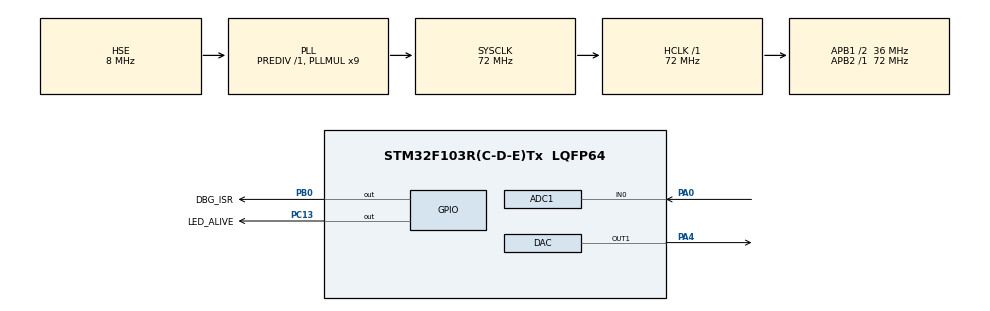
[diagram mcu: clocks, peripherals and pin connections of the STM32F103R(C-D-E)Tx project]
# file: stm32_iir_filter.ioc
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ADC1.Channel-0\#ChannelRegularConversion=ADC_CHANNEL_0
ADC1.EnableAnalogWatchDog=false
ADC1.ExternalTrigConv=ADC_EXTERNALTRIGCONV_T3_TRGO
ADC1.NbrOfConversionFlag=1
ADC1.Rank-0\#ChannelRegularConversion=1
ADC1.SamplingTime-0\#ChannelRegularConversion=ADC_SAMPLETIME_55CYCLES_5
ADC1.master=1
Dma.ADC1.0.Direction=DMA_PERIPH_TO_MEMORY
Dma.ADC1.0.Instance=DMA1_Channel1
Dma.ADC1.0.MemDataAlignment=DMA_MDATAALIGN_HALFWORD
Dma.ADC1.0.MemInc=DMA_MINC_DISABLE
Dma.ADC1.0.Mode=DMA_CIRCULAR
Dma.ADC1.0.PeriphDataAlignment=DMA_PDATAALIGN_HALFWORD
Dma.ADC1.0.PeriphInc=DMA_PINC_DISABLE
Dma.ADC1.0.Priority=DMA_PRIORITY_MEDIUM
Dma.Request0=ADC1
Mcu.Family=STM32F1
Mcu.Name=STM32F103R(C-D-E)Tx
Mcu.Package=LQFP64
NVIC.DMA1_Channel1_IRQn=true\:1\:0\:true\:false\:true\:false\:true\:true
NVIC.PriorityGroup=NVIC_PRIORITYGROUP_4
PA0-WKUP.Signal=ADCx_IN0
PA13.Mode=Serial_Wire
PA13.Signal=SYS_JTMS-SWDIO
PA14.Mode=Serial_Wire
PA14.Signal=SYS_JTCK-SWCLK
PA4.Signal=COMP_DAC1_group
PB0.GPIO_Label=DBG_ISR
PB0.GPIO_Speed=GPIO_SPEED_FREQ_HIGH
PB0.Signal=GPIO_Output
PC13-TAMPER-RTC.GPIO_Label=LED_ALIVE
PC13-TAMPER-RTC.Signal=GPIO_Output
PD0-OSC_IN.Mode=HSE-External-Oscillator
PD0-OSC_IN.Signal=RCC_OSC_IN
PD1-OSC_OUT.Mode=HSE-External-Oscillator
PD1-OSC_OUT.Signal=RCC_OSC_OUT
ProjectManager.HeapSize=0x200
ProjectManager.StackSize=0x400
ProjectManager.TargetToolchain=CMake
RCC.ADCPresc=RCC_ADCPCLK2_DIV6
RCC.AHBFreq_Value=72000000
RCC.APB1CLKDivider=RCC_HCLK_DIV2
RCC.APB1Freq_Value=36000000
RCC.APB1TimFreq_Value=72000000
RCC.APB2Freq_Value=72000000
RCC.APB2TimFreq_Value=72000000
RCC.HCLKFreq_Value=72000000
RCC.PLLMUL=RCC_PLL_MUL9
RCC.PLLSourceVirtual=RCC_PLLSOURCE_HSE
RCC.SYSCLKFreq_VALUE=72000000
RCC.SYSCLKSource=RCC_SYSCLKSOURCE_PLLCLK
RCC.USBFreq_Value=72000000
SH.ADCx_IN0.0=ADC1_IN0,IN0
SH.COMP_DAC1_group.0=DAC_OUT1,DAC_OUT1
TIM3.Period=1439
TIM3.TIM_MasterOutputTrigger=TIM_TRGO_UPDATE
VP_TIM3_VS_ClockSourceINT.Mode=Internal
board=custom

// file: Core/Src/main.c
/* USER CODE BEGIN Header */
/**
 ******************************************************************************
 * @file           : main.c
 * @brief          : Main program body
 ******************************************************************************
 * @attention
 *
 * Copyright (c) 2026 STMicroelectronics.
 * All rights reserved.
 *
 * This software is licensed under terms that can be found in the LICENSE file
 * in the root directory of this software component.
 * If no LICENSE file comes with this software, it is provided AS-IS.
 *
 ******************************************************************************
 */
/* USER CODE END Header */
#include "main.h"
#include "adc.h"
#include "dac.h"
#include "dma.h"
#include "gpio.h"
#include "tim.h"

/* USER CODE BEGIN Includes */
#include "filter.h"
/* USER CODE END Includes */

/* USER CODE BEGIN PD */
/* ---- 系统级常数：全部工作在12bit ADC/DAC码值域（满量程3.3V，每码约0.806mV）---- */
#define IN_BIAS_CODE 993.0f  /* 输入直流偏置 0.8V -> 993码 */
#define FILTER_DC_GAIN 2.0f  /* 低通滤波器直流增益 */
#define OUT_BIAS_CODE 1986U  /* 上电预置输出 1.6V -> 1986码 = IN_BIAS_CODE x FILTER_DC_GAIN */
#define ADC_CODE_MAX 4095.0f /* 12bit码值上限，用于滤波输出限幅 */
/* USER CODE END PD */

/* USER CODE BEGIN PV */
/* DMA 单样本缓冲：每个采样点由 DMA1_CH1 循环写入、在中断中读取，
   必须 volatile，防止编译器在主循环/中断之间把它优化进寄存器；
   static 将可见性限制在本文件（仅 main() 与滤波回调访问） */
static volatile uint16_t adc_raw;

/* 二阶低通，Fs=50kHz 锁定系数（a1 自带负号，禁止再变号） */
static biquad_t lpf = {.b0 = 0.0152672f,
                       .b1 = 0.0305344f,
                       .b2 = 0.0152672f,
                       .a1 = -1.5114504f,
                       .a2 = 0.5419847f,
                       .s1 = 0.0f,
                       .s2 = 0.0f};

/* 输出增益微调：1.0=不修正；若要补偿输出重建RC在2kHz的~0.78%衰减可略调大 */
#define GAIN_TRIM 1.0f
/* USER CODE END PV */

void SystemClock_Config(void);

int main(void) {

  /* MCU Configuration--------------------------------------------------------*/

  /* Reset of all peripherals, Initializes the Flash interface and the Systick.
   */
  HAL_Init();

  /* Configure the system clock */
  SystemClock_Config();

  /* Initialize all configured peripherals */
  MX_GPIO_Init();
  MX_DMA_Init();
  MX_ADC1_Init();
  MX_DAC_Init();
  MX_TIM3_Init();
  /* USER CODE BEGIN 2 */
  /* 1) 启动 DAC 通道1，先把输出预置到 1.6V(OUT_BIAS_CODE)，避免上电瞬间从0跳变 */
  HAL_DAC_Start(&hdac, DAC_CHANNEL_1);
  HAL_DAC_SetValue(&hdac, DAC_CHANNEL_1, DAC_ALIGN_12B_R, OUT_BIAS_CODE);

  /* 2) 滤波器直接置为 0.8V输入->1.6V输出的直流稳态，消除建立瞬态 */
  biquad_preset_dc(&lpf, IN_BIAS_CODE, FILTER_DC_GAIN);

  /* 3) 启动 ADC+DMA：DMA 循环搬运单个半字到 adc_raw，每次转换完成触发TC中断 */
  HAL_ADC_Start_DMA(&hadc1, (uint32_t *)&adc_raw, 1);

  /* 4) 启动 TIM3：更新事件(TRGO)以 72e6/(0+1)/(1439+1)=50kHz 触发 ADC 转换。
        CubeMX
     只做初始化、不启动计数器，这一行必须由用户代码补上，否则无采样节拍 */
  HAL_TIM_Base_Start(&htim3);
  /* USER CODE END 2 */

  /* Infinite loop */
  while (1) {

    /* USER CODE BEGIN 3 */
    /* 存活指示：每500ms翻转一次PC13，亮灭各0.5s，周期1s。
       若它停止闪烁，说明主循环被中断长期占用（ISR超时/采样率过高） */
    HAL_GPIO_TogglePin(LED_ALIVE_GPIO_Port, LED_ALIVE_Pin);
    HAL_Delay(500);
  }
  /* USER CODE END 3 */
}

void SystemClock_Config(void) {
  RCC_OscInitTypeDef RCC_OscInitStruct = {0};
  RCC_ClkInitTypeDef RCC_ClkInitStruct = {0};
  RCC_PeriphCLKInitTypeDef PeriphClkInit = {0};

  /** Initializes the RCC Oscillators according to the specified parameters
   * in the RCC_OscInitTypeDef structure.
   */
  RCC_OscInitStruct.OscillatorType = RCC_OSCILLATORTYPE_HSE;
  RCC_OscInitStruct.HSEState = RCC_HSE_ON;
  RCC_OscInitStruct.HSEPredivValue = RCC_HSE_PREDIV_DIV1;
  RCC_OscInitStruct.HSIState = RCC_HSI_ON;
  RCC_OscInitStruct.PLL.PLLState = RCC_PLL_ON;
  RCC_OscInitStruct.PLL.PLLSource = RCC_PLLSOURCE_HSE;
  RCC_OscInitStruct.PLL.PLLMUL = RCC_PLL_MUL9;
  if (HAL_RCC_OscConfig(&RCC_OscInitStruct) != HAL_OK) {
    Error_Handler();
  }

  /** Initializes the CPU, AHB and APB buses clocks
   */
  RCC_ClkInitStruct.ClockType = RCC_CLOCKTYPE_HCLK | RCC_CLOCKTYPE_SYSCLK |
                                RCC_CLOCKTYPE_PCLK1 | RCC_CLOCKTYPE_PCLK2;
  RCC_ClkInitStruct.SYSCLKSource = RCC_SYSCLKSOURCE_PLLCLK;
  RCC_ClkInitStruct.AHBCLKDivider = RCC_SYSCLK_DIV1;
  RCC_ClkInitStruct.APB1CLKDivider = RCC_HCLK_DIV2;
  RCC_ClkInitStruct.APB2CLKDivider = RCC_HCLK_DIV1;

  if (HAL_RCC_ClockConfig(&RCC_ClkInitStruct, FLASH_LATENCY_2) != HAL_OK) {
    Error_Handler();
  }
  PeriphClkInit.PeriphClockSelection = RCC_PERIPHCLK_ADC;
  PeriphClkInit.AdcClockSelection = RCC_ADCPCLK2_DIV6;
  if (HAL_RCCEx_PeriphCLKConfig(&PeriphClkInit) != HAL_OK) {
    Error_Handler();
  }
}

/* USER CODE BEGIN 4 */
/**
 * @brief  规则组转换完成回调（DMA 搬完一个样本即被 HAL 调用，
 *         运行在 DMA1_Channel1 全局中断上下文，50kHz 进一次）
 * 调用链：DMA1_Channel1_IRQHandler -> HAL_DMA_IRQHandler ->
 *         ADC_DMAConvCplt -> HAL_ADC_ConvCpltCallback（本函数），无需手写ISR
 */
void HAL_ADC_ConvCpltCallback(ADC_HandleTypeDef *hadc) {
  /* 只响应 ADC1（本工程也只有 ADC1，判断是防御性写法） */
  if (hadc->Instance != ADC1) {
    return;
  }

  /* PB0 置高：示波器量此高电平宽度即单次ISR运算耗时 */
  HAL_GPIO_WritePin(DBG_ISR_GPIO_Port, DBG_ISR_Pin, GPIO_PIN_SET);

  /* 码值域直接滤波，再乘增益微调 */
  float y = biquad_update(&lpf, (float)adc_raw) * GAIN_TRIM;

  /* 限幅到12bit码值域[0,ADC_CODE_MAX]，保证不削顶、不出现非法码 */
  if (y > ADC_CODE_MAX) {
    y = ADC_CODE_MAX;
  } else if (y < 0.0f) {
    y = 0.0f;
  }

  /* 四舍五入(+0.5后截断)为整数码，写DAC通道1的12bit右对齐保持寄存器DHR12R1 */
  uint16_t dac_code = (uint16_t)(y + 0.5f);
  HAL_DAC_SetValue(&hdac, DAC_CHANNEL_1, DAC_ALIGN_12B_R, dac_code);

  /* PB0 清低，结束观测脉宽 */
  HAL_GPIO_WritePin(DBG_ISR_GPIO_Port, DBG_ISR_Pin, GPIO_PIN_RESET);
}
/* USER CODE END 4 */

void Error_Handler(void) {
  __disable_irq();
  while (1) {
  }
}
#ifdef USE_FULL_ASSERT
/**
 * @brief  Reports the name of the source file and the source line number
 *         where the assert_param error has occurred.
 * @param  file: pointer to the source file name
 * @param  line: assert_param error line source number
 * @retval None
 */
void assert_failed(uint8_t *file, uint32_t line) {
  /* USER CODE BEGIN 6 */
  /* User can add his own implementation to report the file name and line
     number, ex: printf("Wrong parameters value: file %s on line %d\r\n", file,
     line) */
  /* USER CODE END 6 */
}
#endif /* USE_FULL_ASSERT */
